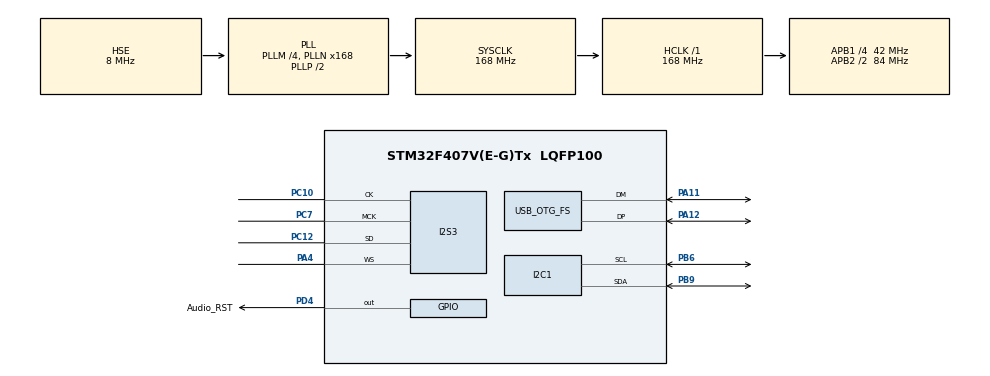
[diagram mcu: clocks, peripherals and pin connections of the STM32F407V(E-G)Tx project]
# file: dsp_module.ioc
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Dma.Request0=SPI3_TX
Dma.SPI3_TX.0.Direction=DMA_MEMORY_TO_PERIPH
Dma.SPI3_TX.0.FIFOMode=DMA_FIFOMODE_ENABLE
Dma.SPI3_TX.0.FIFOThreshold=DMA_FIFO_THRESHOLD_FULL
Dma.SPI3_TX.0.Instance=DMA1_Stream5
Dma.SPI3_TX.0.MemBurst=DMA_MBURST_SINGLE
Dma.SPI3_TX.0.MemDataAlignment=DMA_MDATAALIGN_HALFWORD
Dma.SPI3_TX.0.MemInc=DMA_MINC_ENABLE
Dma.SPI3_TX.0.Mode=DMA_CIRCULAR
Dma.SPI3_TX.0.PeriphBurst=DMA_PBURST_SINGLE
Dma.SPI3_TX.0.PeriphDataAlignment=DMA_PDATAALIGN_HALFWORD
Dma.SPI3_TX.0.PeriphInc=DMA_PINC_DISABLE
Dma.SPI3_TX.0.Priority=DMA_PRIORITY_VERY_HIGH
I2S3.AudioFreq=I2S_AUDIOFREQ_48K
I2S3.ErrorAudioFreq=-0.01 %
I2S3.FullDuplexMode=I2S_FULLDUPLEXMODE_DISABLE
I2S3.Instance=SPI$Index
I2S3.RealAudioFreq=47.991 KHz
I2S3.VirtualMode=I2S_MODE_MASTER
Mcu.Family=STM32F4
Mcu.Name=STM32F407V(E-G)Tx
Mcu.Package=LQFP100
NVIC.DMA1_Stream5_IRQn=true\:0\:0\:false\:false\:true\:false\:true\:true
NVIC.OTG_FS_IRQn=true\:0\:0\:false\:false\:true\:true\:true\:true
NVIC.PriorityGroup=NVIC_PRIORITYGROUP_0
NVIC.SPI3_IRQn=true\:0\:0\:false\:false\:true\:true\:true\:true
PA11.Mode=Device_Only
PA11.Signal=USB_OTG_FS_DM
PA12.Mode=Device_Only
PA12.Signal=USB_OTG_FS_DP
PA13.Mode=Serial_Wire
PA13.Signal=SYS_JTMS-SWDIO
PA14.Mode=Serial_Wire
PA14.Signal=SYS_JTCK-SWCLK
PA4.Mode=Half_Duplex_Master
PA4.Signal=I2S3_WS
PB6.Mode=I2C
PB6.Signal=I2C1_SCL
PB9.Mode=I2C
PB9.Signal=I2C1_SDA
PC10.Mode=Half_Duplex_Master
PC10.Signal=I2S3_CK
PC12.Mode=Half_Duplex_Master
PC12.Signal=I2S3_SD
PC7.Mode=Master_Clock_Activated
PC7.Signal=I2S3_MCK
PD4.GPIO_Label=Audio_RST
PD4.Signal=GPIO_Output
PH0-OSC_IN.Mode=HSE-External-Oscillator
PH0-OSC_IN.Signal=RCC_OSC_IN
PH1-OSC_OUT.Mode=HSE-External-Oscillator
PH1-OSC_OUT.Signal=RCC_OSC_OUT
ProjectManager.HeapSize=0x200
ProjectManager.StackSize=0x400
ProjectManager.TargetToolchain=STM32CubeIDE
RCC.48MHZClocksFreq_Value=48000000
RCC.AHBFreq_Value=168000000
RCC.APB1CLKDivider=RCC_HCLK_DIV4
RCC.APB1Freq_Value=42000000
RCC.APB1TimFreq_Value=84000000
RCC.APB2CLKDivider=RCC_HCLK_DIV2
RCC.APB2Freq_Value=84000000
RCC.APB2TimFreq_Value=168000000
RCC.CortexFreq_Value=168000000
RCC.HCLKFreq_Value=168000000
RCC.HSE_VALUE=8000000
RCC.HSI_VALUE=16000000
RCC.LSE_VALUE=32768
RCC.PLLI2SN=86
RCC.PLLM=4
RCC.PLLN=168
RCC.PLLQ=7
RCC.PLLSourceVirtual=RCC_PLLSOURCE_HSE
RCC.SYSCLKFreq_VALUE=168000000
RCC.SYSCLKSource=RCC_SYSCLKSOURCE_PLLCLK
RCC.VCOOutputFreq_Value=336000000
USB_DEVICE.CLASS_NAME_FS=AUDIO
USB_DEVICE.USBD_AUDIO_FREQ-AUDIO_FS=48000
USB_DEVICE.VirtualMode-AUDIO_FS=Audio
USB_DEVICE.VirtualModeFS=Audio_FS
USB_OTG_FS.VirtualMode=Device_Only
VP_USB_DEVICE_VS_USB_DEVICE_AUDIO_FS.Mode=AUDIO_FS
board=STM32F407G-DISC1

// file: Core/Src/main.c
/* USER CODE BEGIN Header */
/**
  ******************************************************************************
  * @file           : main.c
  * @brief          : Main program body
  ******************************************************************************
  * @attention
  *
  * Copyright (c) 2026 STMicroelectronics.
  * All rights reserved.
  *
  * This software is licensed under terms that can be found in the LICENSE file
  * in the root directory of this software component.
  * If no LICENSE file comes with this software, it is provided AS-IS.
  *
  ******************************************************************************
  */
/* USER CODE END Header */
#include "main.h"
#include "dma.h"
#include "i2c.h"
#include "i2s.h"
#include "usb_device.h"
#include "gpio.h"
#include "cs43l22_custom.h"
#include "DSP/LowPassFilter_FirstOrder.h"

/* USER CODE BEGIN PD */

#define BUFFER_SIZE 128
#define SAMPLE_RATE_HZ 48000.0f

#define INT16_TO_FLOAT (1.0f / 32768.0f)
#define FLOAT_TO_INT16 (32768.0f)

#define DEBUG_BUFFER_SIZE 1000	/* Debug */

/* USER CODE END PD */

/* USER CODE BEGIN PV */

int16_t dacBuffer[BUFFER_SIZE];
int16_t adcBuffer[BUFFER_SIZE];

static volatile int16_t *inBufPtr;
static volatile int16_t *outBufPtr = &dacBuffer[0];

volatile uint8_t dataReadyFlag;
volatile float traceOutput = 0.0f;

LowPass_FirstOrder lpFilt;

// debug
float debugBuffer[DEBUG_BUFFER_SIZE];
volatile int debugIndex = 0;

/* USER CODE END PV */

void SystemClock_Config(void);

/* USER CODE BEGIN 0 */

void HAL_I2S_TxHalfCpltCallback (I2S_HandleTypeDef * hi2s){

	inBufPtr = &adcBuffer[0];
	outBufPtr = &dacBuffer[0];

	dataReadyFlag = 1;
}

void HAL_I2S_TxCpltCallback (I2S_HandleTypeDef * hi2s){

	inBufPtr = &adcBuffer[BUFFER_SIZE/2];
	outBufPtr = &dacBuffer[BUFFER_SIZE/2];

	dataReadyFlag = 1;
}

void processData(void) {

    float leftOut, rightOut;
    float leftIn, rightIn;

    static int phase = 0;
    for (int i = 0; i < (BUFFER_SIZE / 2); i += 2) {

        // Sampling and converting to float
        leftIn = inBufPtr[i] * INT16_TO_FLOAT;
        rightIn = inBufPtr[i + 1] * INT16_TO_FLOAT;

        // Phase correction
        //if (leftIn > 1.0f) leftIn -= 2.0f;
        //if (rightIn > 1.0f) rightIn -= 2.0f;

        // test wave generator

        float testTone;

        if(phase < 60){
        	testTone = 0.1f;

        } else{
        	testTone = -0.1f;
        }

        phase++;

        if (phase >= 120){
        	phase = 0;
        }

        traceOutput = LowPass_FirstOrder_Update(&lpFilt, testTone);

        // debug buffer
        if (debugIndex < DEBUG_BUFFER_SIZE) {
            debugBuffer[debugIndex] = traceOutput;
            debugIndex++;
        }

        leftOut = traceOutput;
        rightOut = traceOutput;

        // convert back to in16_t and send to DAC
        outBufPtr[i]     = (int16_t)(leftOut * FLOAT_TO_INT16);
        outBufPtr[i + 1] = (int16_t)(rightOut * FLOAT_TO_INT16);
    }

    dataReadyFlag = 0;
}

/* USER CODE END 0 */

int main(void)
{

  /* MCU Configuration--------------------------------------------------------*/

  /* Reset of all peripherals, Initializes the Flash interface and the Systick. */
  HAL_Init();

  /* Configure the system clock */
  SystemClock_Config();

  /* Initialize all configured peripherals */
  MX_GPIO_Init();
  MX_DMA_Init();
  MX_I2S3_Init();
  MX_I2C1_Init();
  MX_USB_DEVICE_Init();
  /* USER CODE BEGIN 2 */

  /* Initialize Codec */
  HAL_GPIO_WritePin(GPIOD, GPIO_PIN_4, GPIO_PIN_SET);
  HAL_Delay(10);
  CS43L22_Init();

  HAL_I2S_Transmit_DMA(&hi2s3, (uint16_t*)dacBuffer, BUFFER_SIZE);

  /* Initialize Filters */
  LowPass_FirstOrder_Init(&lpFilt, 10000.0f, SAMPLE_RATE_HZ);

  /* USER CODE END 2 */

  /* Infinite loop */
  /* USER CODE BEGIN WHILE */
  while (1)
  {
	  if (dataReadyFlag == 1) {
	            processData();
	        }

    /* USER CODE END WHILE */

  }
}

void SystemClock_Config(void)
{
  RCC_OscInitTypeDef RCC_OscInitStruct = {0};
  RCC_ClkInitTypeDef RCC_ClkInitStruct = {0};

  /** Configure the main internal regulator output voltage
  */
  __HAL_RCC_PWR_CLK_ENABLE();
  __HAL_PWR_VOLTAGESCALING_CONFIG(PWR_REGULATOR_VOLTAGE_SCALE1);

  /** Initializes the RCC Oscillators according to the specified parameters
  * in the RCC_OscInitTypeDef structure.
  */
  RCC_OscInitStruct.OscillatorType = RCC_OSCILLATORTYPE_HSE;
  RCC_OscInitStruct.HSEState = RCC_HSE_ON;
  RCC_OscInitStruct.PLL.PLLState = RCC_PLL_ON;
  RCC_OscInitStruct.PLL.PLLSource = RCC_PLLSOURCE_HSE;
  RCC_OscInitStruct.PLL.PLLM = 4;
  RCC_OscInitStruct.PLL.PLLN = 168;
  RCC_OscInitStruct.PLL.PLLP = RCC_PLLP_DIV2;
  RCC_OscInitStruct.PLL.PLLQ = 7;
  if (HAL_RCC_OscConfig(&RCC_OscInitStruct) != HAL_OK)
  {
    Error_Handler();
  }

  /** Initializes the CPU, AHB and APB buses clocks
  */
  RCC_ClkInitStruct.ClockType = RCC_CLOCKTYPE_HCLK|RCC_CLOCKTYPE_SYSCLK
                              |RCC_CLOCKTYPE_PCLK1|RCC_CLOCKTYPE_PCLK2;
  RCC_ClkInitStruct.SYSCLKSource = RCC_SYSCLKSOURCE_PLLCLK;
  RCC_ClkInitStruct.AHBCLKDivider = RCC_SYSCLK_DIV1;
  RCC_ClkInitStruct.APB1CLKDivider = RCC_HCLK_DIV4;
  RCC_ClkInitStruct.APB2CLKDivider = RCC_HCLK_DIV2;

  if (HAL_RCC_ClockConfig(&RCC_ClkInitStruct, FLASH_LATENCY_5) != HAL_OK)
  {
    Error_Handler();
  }
}

void Error_Handler(void)
{
  __disable_irq();
  while (1)
  {
  }
}
